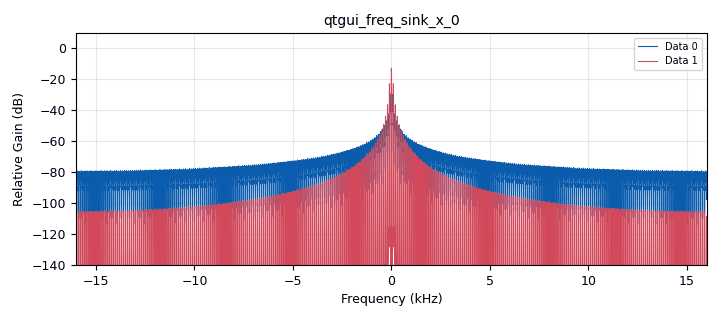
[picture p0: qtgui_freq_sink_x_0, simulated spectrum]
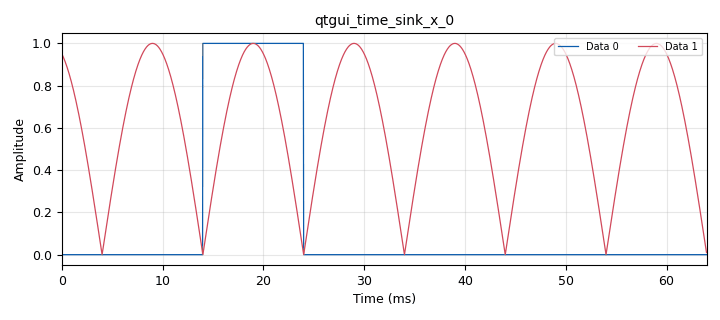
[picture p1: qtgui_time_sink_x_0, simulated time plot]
<?xml version='1.0' encoding='utf-8'?>
<?grc format='1' created='3.7.11'?>
<flow_graph>
<block>
<key>options</key>
<param><key>id</key><value>expt_2_a</value></param>
<param><key>author</key><value>swarupa</value></param>
<param><key>generate_options</key><value>qt_gui</value></param>
<param><key>title</key><value>Waveform using a vector source</value></param>
</block>
<block>
<key>variable</key>
<param><key>id</key><value>samp_rate</value></param>
<param><key>value</key><value>32000</value></param>
</block>
<block>
<key>variable_tag_object</key>
<param><key>id</key><value>tag1</value></param>
<param><key>key</key><value>pmt.intern("t0")</value></param>
<param><key>offset</key><value>0</value></param>
<param><key>src</key><value>pmt.intern("VecSrc")</value></param>
<param><key>value</key><value>pmt.intern("0")</value></param>
</block>
<block>
<key>variable_qtgui_range</key>
<param><key>id</key><value>tau</value></param>
<param><key>value</key><value>0.01</value></param>
<param><key>orient</key><value>Qt.Horizontal</value></param>
<param><key>start</key><value>0</value></param>
<param><key>step</key><value>0.001</value></param>
<param><key>stop</key><value>0.03</value></param>
</block>
<block>
<key>variable</key>
<param><key>id</key><value>tlen</value></param>
<param><key>value</key><value>tau</value></param>
</block>
<block>
<key>variable</key>
<param><key>id</key><value>tt</value></param>
<param><key>value</key><value>np.arange(0,round(tlen*samp_rate))/float(samp_rate)</value></param>
</block>
<block>
<key>blocks_vector_source_x</key>
<param><key>id</key><value>VectorSource</value></param>
<param><key>type</key><value>float</value></param>
<param><key>repeat</key><value>True</value></param>
<param><key>vector</key><value>np.hstack((np.ones(int(tau*samp_rate)),np.zeros(int((0.1-tau)*samp_rate))))</value></param>
</block>
<block>
<key>blocks_vector_source_x</key>
<param><key>id</key><value>VectorSource_0</value></param>
<param><key>type</key><value>float</value></param>
<param><key>repeat</key><value>True</value></param>
<param><key>vector</key><value>np.sin(np.pi*tt/tau)</value></param>
</block>
<block>
<key>blocks_throttle</key>
<param><key>id</key><value>blocks_throttle_0</value></param>
<param><key>samples_per_second</key><value>samp_rate</value></param>
<param><key>type</key><value>float</value></param>
</block>
<block>
<key>blocks_throttle</key>
<param><key>id</key><value>blocks_throttle_0_0</value></param>
<param><key>samples_per_second</key><value>samp_rate</value></param>
<param><key>type</key><value>float</value></param>
</block>
<block>
<key>import</key>
<param><key>id</key><value>np</value></param>
<param><key>import</key><value>import numpy as np</value></param>
</block>
<block>
<key>qtgui_freq_sink_x</key>
<param><key>id</key><value>qtgui_freq_sink_x_0</value></param>
<param><key>average</key><value>0.05</value></param>
<param><key>bw</key><value>samp_rate</value></param>
<param><key>fc</key><value>0</value></param>
<param><key>fftsize</key><value>8192</value></param>
<param><key>label2</key><value></value></param>
<param><key>nconnections</key><value>2</value></param>
<param><key>showports</key><value>True</value></param>
<param><key>type</key><value>float</value></param>
<param><key>wintype</key><value>firdes.WIN_BLACKMAN_hARRIS</value></param>
</block>
<block>
<key>qtgui_time_sink_x</key>
<param><key>id</key><value>qtgui_time_sink_x_0</value></param>
<param><key>autoscale</key><value>True</value></param>
<param><key>grid</key><value>True</value></param>
<param><key>color1</key><value>"blue"</value></param>
<param><key>label1</key><value></value></param>
<param><key>color2</key><value>"red"</value></param>
<param><key>label2</key><value></value></param>
<param><key>nconnections</key><value>2</value></param>
<param><key>size</key><value>2048</value></param>
<param><key>srate</key><value>samp_rate</value></param>
<param><key>type</key><value>float</value></param>
</block>
<connection><source_block_id>VectorSource</source_block_id><sink_block_id>blocks_throttle_0</sink_block_id><source_key>0</source_key><sink_key>0</sink_key></connection>
<connection><source_block_id>VectorSource_0</source_block_id><sink_block_id>blocks_throttle_0_0</sink_block_id><source_key>0</source_key><sink_key>0</sink_key></connection>
<connection><source_block_id>blocks_throttle_0</source_block_id><sink_block_id>qtgui_freq_sink_x_0</sink_block_id><source_key>0</source_key><sink_key>0</sink_key></connection>
<connection><source_block_id>blocks_throttle_0</source_block_id><sink_block_id>qtgui_time_sink_x_0</sink_block_id><source_key>0</source_key><sink_key>0</sink_key></connection>
<connection><source_block_id>blocks_throttle_0_0</source_block_id><sink_block_id>qtgui_freq_sink_x_0</sink_block_id><source_key>0</source_key><sink_key>1</sink_key></connection>
<connection><source_block_id>blocks_throttle_0_0</source_block_id><sink_block_id>qtgui_time_sink_x_0</sink_block_id><source_key>0</source_key><sink_key>1</sink_key></connection>
</flow_graph>
